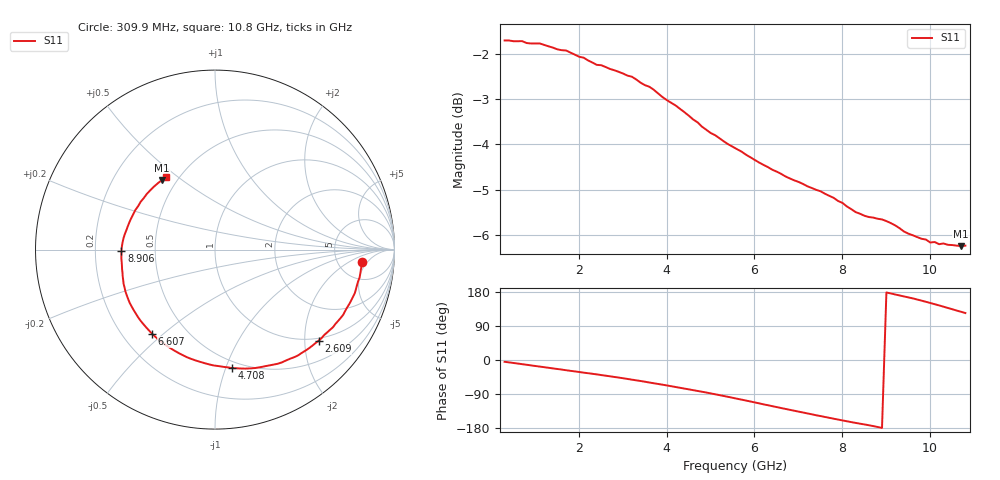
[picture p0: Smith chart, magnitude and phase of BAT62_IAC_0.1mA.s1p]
! Infineon Technologies  Discrete & RF Semiconductors
! BAT62
! IAC = 0.1 mA
! One-Port S-Parameters
# Hz  S  MA  R  50
!f  S11
!Hz  Mag  Ang
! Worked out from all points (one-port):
!   106 points, 309.9 MHz to 10.8 GHz, reference 50 ohm
!   lowest |S11| = -6.2 dB at 10.7 GHz (marker M1), VSWR 2.90, Z = 20.9 + j21.2 ohm
!   |S11| at or under -10 dB: nowhere
!   S11 on the Smith chart (normalised r, x): 309.9 MHz: 8.69, -3.64; 2.609 GHz: 0.94, -2.32; 4.708 GHz: 0.44, -1.05; 6.607 GHz: 0.32, -0.46; 8.906 GHz: 0.31, -0.01; 10.8 GHz: 0.43, +0.45
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3.0985e8  0.8219 -4.7
7.0965e8  0.8206 -11.0
1.10945e9  0.8157 -17.4
1.70915e9  0.8013 -27.0
2.10895e9  0.7867 -33.4
2.6087e9  0.7684 -41.4
3.0085e9  0.7557 -48.1
3.2084e9  0.7496 -51.8
3.6082e9  0.7306 -59.4
4.30785e9  0.6906 -73.4
4.70765e9  0.6673 -81.8
5.2074e9  0.6409 -92.7
5.6072e9  0.6233 -102.3
6.10695e9  0.6026 -114.4
6.6067e9  0.5856 -126.7
6.90655e9  0.5759 -133.9
7.50625e9  0.5602 -148.0
7.8061e9  0.5508 -155.0
8.2059e9  0.5353 -163.9
8.6057e9  0.5247 -172.1
8.90555e9  0.5215 -179.3
9.2054e9  0.5137 173.0
9.50525e9  0.503 165.2
9.8051e9  0.4965 156.7
1.010495e10  0.4924 147.3
1.030485e10  0.4906 140.7
1.070465e10  0.4872 127.3
1.08046e10  0.4879 123.9
